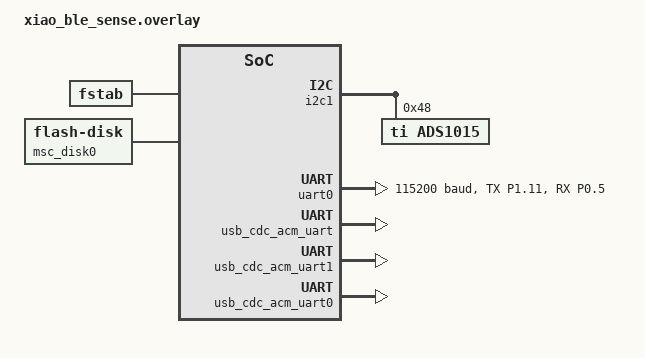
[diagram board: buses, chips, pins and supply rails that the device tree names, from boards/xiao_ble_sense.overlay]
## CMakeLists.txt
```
cmake_minimum_required(VERSION 3.20.0)

set(EI_API_KEY_HEADER "x-api-key: __REPLACE_ME__")

find_package(Zephyr REQUIRED HINTS $ENV{ZEPHYR_BASE})
project(posture_checker)

FILE(GLOB sh2_sources ext/sh2/*.c)

target_include_directories(app PRIVATE
    ext
)

# It is expected that the following 3 items are configured
target_sources_ifdef(CONFIG_FILE_SYSTEM
         app PRIVATE
         src/persistence/persistence.cpp
         )

target_sources_ifdef(CONFIG_ML_APP_EI_DATA_FORWARDER
         app PRIVATE
         src/ei_data_forwarder.c
         )

target_sources_ifdef(CONFIG_BT
		     app PRIVATE 
         src/bluetooth/services/postureCheckerService.c
         src/bluetooth/services/timeService.c
         src/bt.c
         )
         
target_sources(app PRIVATE
  ${sh2_sources}
  src/sensors/driver/bno08x.c
  src/sensors/sensorAggregator.cpp
  src/sensors/sensorBno08x.cpp
  src/sensors/sensorFlex.cpp
  src/sensors/sensorLsm6dsl.cpp
  src/usb/usb.c
  src/nfc/nfc.c
  src/uart/uart.c
  src/shell_commands.cpp
  src/main.cpp
  )


zephyr_include_directories(config)

# Compiler warnings to error
# zephyr_library_compile_options(-Werror)
```

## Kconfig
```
mainmenu "Posture checker application"

menu "Application configuration"

rsource "Kconfig.ei"
rsource "Kconfig.bt"
rsource "Kconfig.flash"

config USE_SIMULATION_DATA
	bool "Use simulation data instead of sensor input."

module = MAIN
module-str = Posture checker app main
source "subsys/logging/Kconfig.template.log_config"

module = SENSORS
module-str = Sensors module
source "subsys/logging/Kconfig.template.log_config"

endmenu

source "Kconfig.zephyr"
```

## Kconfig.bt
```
config APP_REQUIRE_OOB
	bool "Sending values requires OOB security level"

config APP_USER_FILTER_ACCESS_LIST
	bool "After bonding, only accept connections from bonded device or activation by shell"
```

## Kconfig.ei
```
#
# Copyright (c) 2021 Nordic Semiconductor
#
# SPDX-License-Identifier: LicenseRef-Nordic-5-Clause
#

menuconfig ML_APP_EI_DATA_FORWARDER
	bool "Edge Impulse data forwarder"
	depends on NEWLIB_LIBC
	depends on NEWLIB_LIBC_FLOAT_PRINTF

if ML_APP_EI_DATA_FORWARDER

config ML_APP_EI_DATA_FORWARDER_UART
	bool "UART"

config ML_APP_EI_DATA_FORWARDER_BT_NUS
	bool "Nordic UART Service (NUS)"
	depends on BT_NUS
	depends on BT_GAP_AUTO_UPDATE_CONN_PARAMS

config ML_APP_EI_DATA_FORWARDER_BUF_SIZE
	int "Data buffer size"
	default 82
	range 6 4096
	help
	  Size of the buffer used to temporarily store forwarded data.
	  The buffer must be big enough to store a single line of forwarded data.

config ML_APP_EI_DATA_FORWARDER_PIPELINE_COUNT
	int "Number of samples pipelined in the Bluetooth stack"
	depends on ML_APP_EI_DATA_FORWARDER_BT_NUS
	default 2
	range 1 BT_CONN_TX_MAX
	help
	  Number of sensor samples pipelined in the Bluetooth stack. Pipelining samples in the
	  Bluetooth stack reduces latency related to delivering subsequent sensor samples to
	  the stack.

config ML_APP_EI_DATA_FORWARDER_BUF_COUNT
	int "Data buffer count"
	depends on ML_APP_EI_DATA_FORWARDER_BT_NUS
	default 3
	range 0 16
	help
	  Up to CONFIG_ML_APP_EI_DATA_FORWARDER_PIPELINE_COUNT sensor samples are pipelined in the
	  Bluetooth stack. In case the pipeline is full, additional samples are buffered by the
	  application module. This Kconfig option specifies number of sensor samples temporarily
	  stored by the application module.

module = ML_APP_EI_DATA_FORWARDER
module-str = EI data forwarder
source "subsys/logging/Kconfig.template.log_config"

endif # ML_APP_EI_DATA_FORWARDER
```

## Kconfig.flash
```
config APP_WIPE_STORAGE
	bool "Option to clear the flash area before mounting"
	help
	  Use this to force an existing file system to be created.

module = APP_FLASH_LITTLEFS
module-str = Flash Filesystem Utilities
source "subsys/logging/Kconfig.template.log_config"
```

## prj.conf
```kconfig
#################
# Debugging
#################
CONFIG_DEBUG=y
CONFIG_DEBUG_INFO=y
CONFIG_EXCEPTION_STACK_TRACE=y
CONFIG_THREAD_NAME=y
CONFIG_MPU_STACK_GUARD=y
CONFIG_RESET_ON_FATAL_ERROR=n


#################
# Memory settings
#################
CONFIG_MAIN_STACK_SIZE=4096
CONFIG_ISR_STACK_SIZE=4096
CONFIG_SYSTEM_WORKQUEUE_STACK_SIZE=4096


####################################
# Bluetooth Low Energy configuration
####################################
# General features
CONFIG_BT=y
CONFIG_BT_PERIPHERAL=y
CONFIG_BT_GATT_CLIENT=y
CONFIG_BT_DEVICE_NAME="Posture"

# Security
CONFIG_BT_SMP=y
CONFIG_BT_SMP_SC_ONLY=y
CONFIG_BT_MAX_CONN=2
CONFIG_BT_MAX_PAIRED=2
CONFIG_BT_FILTER_ACCEPT_LIST=y

# Required to skip InitRandomStaticAddress() in modules/lib/matter/src/platform/Zephyr/BLEManagerImpl.cpp
# and settings_load() after PlatformMgr().InitChipStack()
CONFIG_BT_PRIVACY=y
CONFIG_BT_SMP_APP_PAIRING_ACCEPT=y

## Enable bonding
CONFIG_BT_SETTINGS=y
CONFIG_FLASH=y
CONFIG_FLASH_PAGE_LAYOUT=y
CONFIG_FLASH_MAP=y
CONFIG_NVS=y
CONFIG_SETTINGS=y

## Increase packet size
CONFIG_BT_DATA_LEN_UPDATE=y
CONFIG_BT_USER_DATA_LEN_UPDATE=y
CONFIG_BT_CTLR_DATA_LENGTH_MAX=251
CONFIG_BT_BUF_ACL_RX_SIZE=251
CONFIG_BT_BUF_ACL_TX_SIZE=251
CONFIG_BT_L2CAP_TX_MTU=247

CONFIG_BT_PHY_UPDATE=y
CONFIG_BT_USER_PHY_UPDATE=y
CONFIG_BT_AUTO_PHY_UPDATE=y

## 500ms connection interval, peripheral latency 0 connection intervals, supervision timeout 4s
#CONFIG_BT_PERIPHERAL_PREF_MIN_INT=400
#CONFIG_BT_PERIPHERAL_PREF_MAX_INT=400
#CONFIG_BT_PERIPHERAL_PREF_LATENCY=0
#CONFIG_BT_PERIPHERAL_PREF_TIMEOUT=400
CONFIG_BT_GAP_AUTO_UPDATE_CONN_PARAMS=y


###################
# USB configuration
###################
CONFIG_USB_DEVICE_STACK=y
CONFIG_USB_DEVICE_PRODUCT="Posture Checker"
CONFIG_USB_CDC_ACM=y
CONFIG_UART_LINE_CTRL=y

# The build should not complain about using the default device ids
CONFIG_USB_DEVICE_VID=0x1234
CONFIG_USB_DEVICE_PID=0x5678

CONFIG_USB_DEVICE_MANUFACTURER="J"
CONFIG_USB_DEVICE_SN="MLB_000000000000"

CONFIG_USB_DEVICE_INITIALIZE_AT_BOOT=y

CONFIG_USB_COMPOSITE_DEVICE=n
CONFIG_USB_MAX_NUM_TRANSFERS=8

CONFIG_USB_REQUEST_BUFFER_SIZE=2048

CONFIG_USB_MASS_STORAGE=y
CONFIG_USB_DRIVER_LOG_LEVEL_ERR=y
CONFIG_USB_DEVICE_LOG_LEVEL_ERR=y
CONFIG_USB_MASS_STORAGE_LOG_LEVEL_ERR=y

CONFIG_DISK_DRIVER_FLASH=y
# defaults if CONFIG_DISK_DRIVER_FLASH=y
CONFIG_MASS_STORAGE_DISK_NAME="NAND"
CONFIG_FLASHDISK_VERIFY_PAGE_LAYOUT=y


###################
# NFC configuration
###################
CONFIG_NFC_T4T_NRFXLIB=y

CONFIG_NFC_NDEF=y
CONFIG_NFC_NDEF_MSG=y
CONFIG_NFC_NDEF_RECORD=y
CONFIG_NFC_NDEF_LE_OOB_REC=y
CONFIG_NFC_NDEF_CH_MSG=y

CONFIG_NFC_NDEF_TNEP_RECORD=y
CONFIG_NFC_TNEP_TAG=y
CONFIG_NFC_NDEF_PARSER=y
CONFIG_NFC_NDEF_CH_PARSER=y
CONFIG_NFC_NDEF_LE_OOB_REC_PARSER=y
CONFIG_NFC_TNEP_CH=y

CONFIG_NFC_TNEP_CH_LOG_LEVEL_DBG=y
CONFIG_NFC_NDEF_CH_REC_PARSER_LOG_LEVEL_DBG=y
CONFIG_NFC_NDEF_LE_OOB_REC_PARSER_LOG_LEVEL_DBG=y
CONFIG_NFC_NDEF_PARSER_LOG_LEVEL_DBG=y
CONFIG_NFC_PLATFORM_LOG_LEVEL_DBG=y
CONFIG_NFC_TNEP_TAG_LOG_LEVEL_DBG=y


#######
# Shell
#######
CONFIG_SHELL=y
CONFIG_SHELL_PROMPT_UART="$ "
CONFIG_SHELL_BACKEND_SERIAL_CHECK_DTR=y
CONFIG_SHELL_VT100_COMMANDS=n
CONFIG_SHELL_DEFAULT_TERMINAL_WIDTH=100
CONFIG_SHELL_STACK_SIZE=3168
CONFIG_ADC_SHELL=n
CONFIG_SHELL_CMD_BUFF_SIZE=128
CONFIG_SHELL_BACKEND_SERIAL_RX_RING_BUFFER_SIZE=128


##########
# logging
##########
CONFIG_LOG=y
CONFIG_LOG_MODE_MINIMAL=n
CONFIG_LOG_MODE_DEFERRED=y
#CONFIG_LOG_MODE_IMMEDIATE=n
CONFIG_LOG_BUFFER_SIZE=12288
CONFIG_LOG_BACKEND_SHOW_COLOR=n

# Random crashes with the default of 768
CONFIG_LOG_PROCESS_THREAD_STACK_SIZE=2048

CONFIG_LOG_BACKEND_UART=y
CONFIG_SHELL_LOG_BACKEND=n

CONFIG_CBPRINTF_FP_SUPPORT=y

CONFIG_I2C_DUMP_MESSAGES=n
CONFIG_I2C_LOG_LEVEL_DBG=y
CONFIG_MAIN_LOG_LEVEL_DBG=y
CONFIG_ML_APP_EI_DATA_FORWARDER_LOG_LEVEL_INF=y
CONFIG_EI_WRAPPER_LOG_LEVEL_WRN=y
CONFIG_SENSOR_LOG_LEVEL_DBG=y
CONFIG_SENSORS_LOG_LEVEL_INF=y
CONFIG_USB_CDC_ACM_LOG_LEVEL_OFF=y
CONFIG_DATE_TIME_LOG_LEVEL_ERR=y


##############
# Edge Impulse
##############
CONFIG_EDGE_IMPULSE=y
CONFIG_EI_WRAPPER_DATA_BUF_SIZE=2500
CONFIG_EI_WRAPPER_THREAD_STACK_SIZE=4096
CONFIG_EI_WRAPPER_THREAD_PRIORITY=5
CONFIG_EI_WRAPPER_PROFILING=y
CONFIG_EI_WRAPPER_DEBUG_MODE=n

CONFIG_EDGE_IMPULSE_DOWNLOAD_ALWAYS=y
# Requires credentials set as EI_API_KEY_HEADER in cmake before this configuration is read
#CONFIG_EDGE_IMPULSE_URI="https://studio.edgeimpulse.com/v1/api/276797/deployment/download?type=zip&engine=tflite-eon"
CONFIG_EDGE_IMPULSE_URI="model/posture-checker-v5.zip"

CONFIG_ML_APP_EI_DATA_FORWARDER=y
CONFIG_ML_APP_EI_DATA_FORWARDER_BT_NUS=y
CONFIG_ML_APP_EI_DATA_FORWARDER_UART=y
CONFIG_ML_APP_EI_DATA_FORWARDER_PIPELINE_COUNT=3
CONFIG_ML_APP_EI_DATA_FORWARDER_BUF_COUNT=6

CONFIG_CPLUSPLUS=y
CONFIG_LIB_CPLUSPLUS=y
CONFIG_STD_CPP11=y
CONFIG_FP16=n

CONFIG_NEWLIB_LIBC=y
CONFIG_NEWLIB_LIBC_FLOAT_PRINTF=y

CONFIG_BT_NUS=y


##########
# Memfault
##########
# General
CONFIG_MEMFAULT=y
CONFIG_MEMFAULT_SHELL=y
CONFIG_MEMFAULT_USER_CONFIG_ENABLE=y

# Memfault over BLE
CONFIG_BT_MDS=y

# Heap memory is required for the memfault_demo_cli.c
CONFIG_HEAP_MEM_POOL_SIZE=256

# Device info
CONFIG_MEMFAULT_NCS_DEVICE_ID="postureChecker"
CONFIG_MEMFAULT_NCS_FW_VERSION_AUTO=y
#CONFIG_MEMFAULT_NCS_HW_VERSION="0.1.0+"
#CONFIG_MEMFAULT_NCS_FW_TYPE="posture"
#CONFIG_MEMFAULT_NCS_FW_VERSION_PREFIX="0.1.0+"
#CONFIG_MEMFAULT_DEVICE_ID="52840"

# Collected metris
CONFIG_MEMFAULT_METRICS=y
CONFIG_MEMFAULT_METRICS_DEFAULT_SET_ENABLE=y
CONFIG_MEMFAULT_METRICS_EXTRA_DEFS_FILE=y
CONFIG_MEMFAULT_NCS_STACK_METRICS=y
CONFIG_MEMFAULT_NCS_BT_METRICS=y

# Include logging
CONFIG_MEMFAULT_LOGGING_ENABLE=y
CONFIG_MEMFAULT_LOGGING_RAM_SIZE=1024

# Store coredump to flash
CONFIG_MEMFAULT_COREDUMP_COLLECT_BSS_REGIONS=y
CONFIG_MEMFAULT_COREDUMP_COLLECT_DATA_REGIONS=y
CONFIG_MEMFAULT_NCS_INTERNAL_FLASH_BACKED_COREDUMP=n

# Dependencies MEMFAULT_NCS_INTERNAL_FLASH_BACKED_COREDUMP
#CONFIG_FLASH=y
#CONFIG_IMG_MANAGER=y
#CONFIG_BOOTLOADER_MCUBOOT=y
#CONFIG_MCUBOOT_IMG_MANAGER=y

# Other dependencies
CONFIG_BASE64=y


############
# Filesystem
############
# Need this when storage is on flash
CONFIG_MPU_ALLOW_FLASH_WRITE=y

# Need this when storage is on MX25R64
CONFIG_NORDIC_QSPI_NOR=y
CONFIG_NORDIC_QSPI_NOR_FLASH_LAYOUT_PAGE_SIZE=4096

CONFIG_FILE_SYSTEM=y
CONFIG_FILE_SYSTEM_LITTLEFS=y


############
# App
############
CONFIG_APP_WIPE_STORAGE=n
CONFIG_APP_USER_FILTER_ACCESS_LIST=n
CONFIG_APP_REQUIRE_OOB=y

CONFIG_I2C=y
CONFIG_SENSOR=y
CONFIG_ADC=y
CONFIG_ADC_ADS1X1X=y

CONFIG_DATE_TIME=y
# need to manually switch this off as no network is enabled and KConfig does not pass
CONFIG_DATE_TIME_NTP=n

CONFIG_USE_SIMULATION_DATA=y
```

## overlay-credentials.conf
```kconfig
CONFIG_MEMFAULT_NCS_PROJECT_KEY="__REPLACE_ME__"
```

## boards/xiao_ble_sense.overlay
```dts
#include <zephyr/dt-bindings/gpio/nordic-nrf-gpio.h>

/ {
	chosen {
		zephyr,console = &usb_cdc_acm_uart;
		zephyr,shell-uart = &usb_cdc_acm_uart;
		ncs,ml-app-ei-data-forwarder-uart = &usb_cdc_acm_uart0;
	};

	// https: //github.com/zephyrproject-rtos/zephyr/pull/56640
	// https: //github.com/zephyrproject-rtos/zephyr/pull/57875
	lsm6ds3tr-c-en {
		enable-gpios = <&gpio1 8 (NRF_GPIO_DRIVE_S0H1 | GPIO_ACTIVE_HIGH)>;
		startup-delay-us = <3000>;
	};

	aliases {
		xiao-i2c = &i2c1;
	};

	// Configure the littlefs partition
	fstab {
		compatible = "zephyr,fstab";
		lfs1: lfs1 {
			compatible = "zephyr,fstab,littlefs";
			mount-point = "/lfs1";
			partition = <&lfs1_part>;
			read-size = <16>;
			prog-size = <16>;
			cache-size = <64>;
			lookahead-size = <32>;
			block-cycles = <512>;
		};
	};

	// Expose the littlefs partition as a USB Mass Storage Device
	msc_disk0 {
		compatible = "zephyr,flash-disk";
		partition = <&lfs1_part>;
		disk-name = "NAND";
		cache-size = <4096>;
	};
};

&p25q16h {
	partitions {
		compatible = "fixed-partitions";
		#address-cells = <1>;
		#size-cells = <1>;

		// Place the littlefs partition onto the external flash
		lfs1_part: partition@0 {
			label = "flash-storage";
			reg = <0x00000000 0x00200000>;
		};
	};
};

&i2c1_default {
	group1 {
		psels = <NRF_PSEL(TWIM_SDA, 1, 15)>, <NRF_PSEL(TWIM_SCL, 1, 14)>;
	};
};

&i2c1_sleep {
	group1 {
		psels = <NRF_PSEL(TWIM_SDA, 1, 15)>, <NRF_PSEL(TWIM_SCL, 1, 14)>;
		low-power-enable;
	};
};

&i2c1 {
	compatible = "nordic,nrf-twi";
	status = "okay";

	pinctrl-0 = <&i2c1_default>;
	pinctrl-1 = <&i2c1_sleep>;
	pinctrl-names = "default", "sleep";

	ads1015: ads1015@48 {
		compatible = "ti,ads1015";
		reg = <0x48>;
		#io-channel-cells = <1>;
	};
};

&pinctrl {
	uart0_default: uart0_default {
		group1 {
			psels = <NRF_PSEL(UART_TX, 1, 11)>; // D6
		};
		group2 {
			psels = <NRF_PSEL(UART_RX, 0, 5)>; // D5
			bias-pull-up;
		};		
	};

	uart0_sleep: uart0_sleep {
		group1 {
			psels = <NRF_PSEL(UART_TX, 1, 11)>, // D6
					<NRF_PSEL(UART_RX, 0, 5)>; // D5
			low-power-enable;
		};
	};
};

&uart0 {
	current-speed = <115200>;
	status = "okay";
	pinctrl-0 = <&uart0_default>;
	pinctrl-1 = <&uart0_sleep>;
	pinctrl-names = "default", "sleep";
};

zephyr_udc: &usbd {
	usb_cdc_acm_uart: cdc-acm-uart {
		compatible = "zephyr,cdc-acm-uart";
	};

	usb_cdc_acm_uart1: cdc-acm-uart1 {
		compatible = "zephyr,cdc-acm-uart";
	};

	usb_cdc_acm_uart0: cdc-acm-uart0 {
		compatible = "zephyr,cdc-acm-uart";
	};
};

&adc {
	status = "disabled";
};

&spi2 {
	status = "disabled";
};
```

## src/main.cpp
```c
#include <date_time.h>
#include <ei_wrapper.h>
#include <zephyr/kernel.h>
#include <zephyr/logging/log.h>

#include "bt.h"
#include "ei_data_forwarder.h"
#include "persistence/persistence.h"
#include "sensors/sensorAggregator.h"
#include "sensors/sensorBno08x.h"
#include "sensors/sensorFlex.h"
#include "sensors/sensorLsm6dsl.h"
#include "usb/usb.h"

#if defined(CONFIG_USE_SIMULATION_DATA)
#include "simulation_data.cpp"
#endif

LOG_MODULE_REGISTER(app, CONFIG_MAIN_LOG_LEVEL);

static void app_config_cb(const struct pcs_config *data) {
  LOG_INF("Received config dummy1: %d, dummy2: %d, dummy3: %d", data->dummy1, data->dummy2,
          data->dummy3);
}

static void set_time_cb(time_t val) {
  struct tm *tm_localtime;
  tm_localtime = localtime(&val);

#if defined(CONFIG_DATE_TIME)
  date_time_set(tm_localtime);
  LOG_DBG("Set time to %d %s (%lli)", tm_localtime->tm_year + 1900, asctime(tm_localtime), val);
#else
  LOG_ERR("Cannot set time to %d %s (%lli)", tm_localtime->tm_year + 1900, asctime(tm_localtime),
          val);
#endif
}

static struct bt_app_cb app_callbacks = {
    .config_cb = app_config_cb,
    .time_cb = set_time_cb,
};

int posture_score = 0;
uint8_t posture_step = 5;

static void result_ready_cb(int err) {
  if (err) {
    LOG_ERR("Result ready callback returned error (err: %d)", err);
    return;
  }

  ei_wrapper_start_prediction(0, 1);

  const char *label;
  float value;
  float anomaly;

  err = ei_wrapper_get_next_classification_result(&label, &value, NULL);
  LOG_INF("Value: %.2f\tLabel: %s", value, label);

  if (strcmp(label, "bad") == 0) {
    posture_score += posture_step;
    if (posture_score > 254) posture_score = 254;
  } else if (strcmp(label, "good") == 0) {
    posture_score -= posture_step;
    if (posture_score < 0) posture_score = 0;
  }

  if (ei_wrapper_classifier_has_anomaly()) {
    err = ei_wrapper_get_anomaly(&anomaly);
    if (err) {
      LOG_ERR("Cannot get anomaly (err: %d)", err);
    } else {
      LOG_WRN("Anomaly: %.2f", anomaly);
    }
  }

  LOG_INF("Updated posture score %d", posture_score);
  bt_send_posture_score((uint16_t)posture_score);
}

int main() {
  initUSB();

  Persistence::Instance().init(IS_ENABLED(CONFIG_APP_WIPE_STORAGE));

#if !defined(CONFIG_USE_SIMULATION_DATA)
  SensorLsm6dsl lsm = SensorLsm6dsl();
  SensorBno08x bno = SensorBno08x();
  SensorFlex flex = SensorFlex();
  SensorAggregator agg = SensorAggregator(&bno, &flex, &lsm);
#endif

  bt_init(&app_callbacks);

  ei_data_forwarder_init();
  ei_wrapper_init(result_ready_cb);

  //---------
  // Print some information about the model
  LOG_INF("ei frame size: %d", ei_wrapper_get_frame_size());
  LOG_INF("ei window size: %d", ei_wrapper_get_window_size());
  LOG_INF("ei classifier frequency: %d", ei_wrapper_get_classifier_frequency());
  LOG_INF("ei classifier label count: %d", ei_wrapper_get_classifier_label_count());

  for (size_t i = 0; i < ei_wrapper_get_classifier_label_count(); i++) {
    LOG_INF("- %s", ei_wrapper_get_classifier_label(i));
  }
  //---------

  ei_wrapper_start_prediction(0, 0);

  struct posture_data data;
  int64_t t = 0;
#if defined(CONFIG_USE_SIMULATION_DATA)
  unsigned int i = 0;
#endif

  while (true) {
    k_sleep(K_MSEC(500));

#if defined(CONFIG_USE_SIMULATION_DATA)
    LOG_INF("Send simulation data");
    if (i < ARRAY_SIZE(simulation_data)) {
      ei_wrapper_add_data((float *)&simulation_data[i++],
                          sizeof(struct posture_data_float) / sizeof(float));
    } else {
      i = 0;
    }
#else
    int rc = date_time_now(&t);
    if (rc) {
      data.time = (uint32_t)(k_uptime_get() / 1000);
    } else {
      data.time = (uint32_t)(t / 1000);
    }
    agg.collectData(&data);

    ei_data_forwarder_handle_sensor_event(data);
    Persistence::Instance().writeFile("sensorData.txt", &data, sizeof(data), 0, true);

    bt_send_posture_data(data);

    struct posture_data_float float_data = {
        (float)data.flex2, (float)data.flex3, data.roll,   data.pitch,  data.yaw,    data.accel_x,
        data.accel_y,      data.accel_z,      data.magn_x, data.magn_y, data.magn_z,
    };
    ei_wrapper_add_data((float *)&float_data, sizeof(struct posture_data_float) / sizeof(float));
#endif
  }
  return 0;
}
```

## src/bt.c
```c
// based on
// https://github.com/NordicDeveloperAcademy/bt-fund/blob/main/lesson5/blefund_less5_exer2_solution/src/main.c

#include "bt.h"

#include <bluetooth/services/mds.h>
#include <bluetooth/services/nus.h>
#include <stdio.h>
#include <zephyr/bluetooth/conn.h>
#include <zephyr/bluetooth/gatt.h>
#include <zephyr/bluetooth/uuid.h>
#include <zephyr/kernel.h>
#include <zephyr/logging/log.h>
#include <zephyr/settings/settings.h>

#include "bluetooth/services/postureCheckerService.h"
#include "bluetooth/services/timeService.h"
#include "sensors/sensorDataDefinition.h"
#include "nfc/nfc.h"
LOG_MODULE_REGISTER(bt, CONFIG_MAIN_LOG_LEVEL);

static struct bt_conn *conns[CONFIG_BT_MAX_CONN];

#define DEVICE_NAME CONFIG_BT_DEVICE_NAME
#define DEVICE_NAME_LEN (sizeof(DEVICE_NAME) - 1)

struct bt_le_oob oob_local;
struct bt_le_oob oob_remote;

static const char *oob_config_str(int oob_config) {
  switch (oob_config) {
    case BT_CONN_OOB_LOCAL_ONLY:
      return "Local";
    case BT_CONN_OOB_REMOTE_ONLY:
      return "Remote";
    case BT_CONN_OOB_BOTH_PEERS:
      return "Local and Remote";
    case BT_CONN_OOB_NO_DATA:
    default:
      return "none";
  }
}

static void print_le_oob(struct bt_le_oob *oob, char *buffer, uint16_t size) {
  char addr[BT_ADDR_LE_STR_LEN];
  char c[KEY_STR_LEN];
  char r[KEY_STR_LEN];

  bt_addr_le_to_str(&oob->addr, addr, sizeof(addr));

  bin2hex(oob->le_sc_data.c, sizeof(oob->le_sc_data.c), c, sizeof(c));
  bin2hex(oob->le_sc_data.r, sizeof(oob->le_sc_data.r), r, sizeof(r));

  LOG_INF("OOB data:");
  LOG_INF("%-29s %-32s %-32s", "addr", "random", "confirm");
  LOG_INF("%29s %32s %32s", addr, r, c);
  if (buffer && size >= OOB_MESSAGE_LEN) {
    snprintf(buffer, OOB_MESSAGE_LEN, "%29s %32s %32s\n", addr, r, c);
  }
}

int set_remote_oob(const char *addr, const char *type, const char *r, const char *c) {
  bt_addr_le_t bt_addr;

  int err = bt_addr_le_from_str(addr, type, &bt_addr);
  if (err) {
    LOG_ERR("Invalid peer address (err %d)", err);
    return err;
  }

  bt_addr_le_copy(&oob_remote.addr, &bt_addr);
  hex2bin(r, strlen(r), oob_remote.le_sc_data.r, sizeof(oob_remote.le_sc_data.r));
  hex2bin(c, strlen(c), oob_remote.le_sc_data.c, sizeof(oob_remote.le_sc_data.c));
  bt_le_oob_set_sc_flag(true);

  print_le_oob(&oob_remote, NULL, 0);
  return 0;
}

void local_oob_get(char *buffer, uint16_t size) {
  int err = bt_le_oob_get_local(BT_ID_DEFAULT, &oob_local);
  if (err) {
    LOG_ERR("Retrieving OOB data failed (err %d)", err);
    return;
  }

  print_le_oob(&oob_local, buffer, size);
}

static void auth_pairing_oob_data_request(struct bt_conn *conn, struct bt_conn_oob_info *oob_info) {
  char addr[BT_ADDR_LE_STR_LEN];
  struct bt_conn_info info;
  int err;

  err = bt_conn_get_info(conn, &info);
  if (err) {
    return;
  }

  if (oob_info->type == BT_CONN_OOB_LE_SC) {
    struct bt_le_oob_sc_data *oobd_local =
        oob_info->lesc.oob_config != BT_CONN_OOB_REMOTE_ONLY ? &oob_local.le_sc_data : NULL;
    struct bt_le_oob_sc_data *oobd_remote =
        oob_info->lesc.oob_config != BT_CONN_OOB_LOCAL_ONLY ? &oob_remote.le_sc_data : NULL;

    if (oobd_remote && !bt_addr_le_eq(info.le.remote, &oob_remote.addr)) {
      bt_addr_le_to_str(info.le.remote, addr, sizeof(addr));
      LOG_INF("No OOB data available for remote %s", addr);
      bt_conn_auth_cancel(conn);
      return;
    }

    if (oobd_local && !bt_addr_le_eq(info.le.local, &oob_local.addr)) {
      bt_addr_le_to_str(info.le.local, addr, sizeof(addr));
      LOG_INF("No OOB data available for local %s", addr);
      bt_conn_auth_cancel(conn);
      return;
    }

    bt_le_oob_set_sc_data(conn, oobd_local, oobd_remote);

    bt_addr_le_to_str(info.le.dst, addr, sizeof(addr));
    LOG_INF("Set %s OOB SC data for %s, ", oob_config_str(oob_info->lesc.oob_config), addr);
    return;
  }

  bt_addr_le_to_str(info.le.dst, addr, sizeof(addr));
  LOG_ERR("Legacy OOB not supported! TK requested from remote %s", addr);
}

#define BT_LE_ADV_CONN_NO_ACCEPT_LIST                                                            \
  BT_LE_ADV_PARAM(BT_LE_ADV_OPT_CONNECTABLE | BT_LE_ADV_OPT_USE_IDENTITY | BT_LE_ADV_OPT_ONE_TIME, BT_GAP_ADV_FAST_INT_MIN_2, \
                  BT_GAP_ADV_FAST_INT_MAX_2, NULL)

#define BT_LE_ADV_CONN_ACCEPT_LIST                                                                \
  BT_LE_ADV_PARAM(BT_LE_ADV_OPT_CONNECTABLE | BT_LE_ADV_OPT_USE_IDENTITY | BT_LE_ADV_OPT_FILTER_CONN | BT_LE_ADV_OPT_ONE_TIME, \
                  BT_GAP_ADV_FAST_INT_MIN_2, BT_GAP_ADV_FAST_INT_MAX_2, NULL)



// advertisment data
static const struct bt_data ad[] = {
    BT_DATA_BYTES(BT_DATA_FLAGS, (BT_LE_AD_GENERAL | BT_LE_AD_NO_BREDR)),
    BT_DATA_BYTES(BT_DATA_UUID128_ALL, BT_UUID_MDS_VAL),
    BT_DATA(BT_DATA_NAME_COMPLETE, DEVICE_NAME, DEVICE_NAME_LEN),
};

// scan response data
// Advertisment of two 128 bit UUIDs is too large for standard advertisments.
// Therefore only use the posture chekcer service value
static const struct bt_data sd[] = {
//    BT_DATA_BYTES(BT_DATA_UUID128_ALL, BT_UUID_NUS_VAL),
//    BT_DATA_BYTES(BT_DATA_UUID128_ALL, BT_UUID_EIS_VAL),
    BT_DATA_BYTES(BT_DATA_UUID128_ALL, BT_UUID_PCS_VAL),
};

static void setup_accept_list_cb(const struct bt_bond_info *info, void *user_data) {
  int *bond_cnt = user_data;

  if ((*bond_cnt) < 0) {
    return;
  }

  int err = bt_le_filter_accept_list_add(&info->addr);
  LOG_INF("Added following peer to accept list: %x %x", info->addr.a.val[0], info->addr.a.val[1]);
  if (err) {
    LOG_INF("Cannot add peer to filter accept list (err: %d)", err);
    (*bond_cnt) = -EIO;
  } else {
    (*bond_cnt)++;
  }
}

static int setup_accept_list(uint8_t local_id) {
  int err = bt_le_filter_accept_list_clear();

  if (err) {
    LOG_INF("Cannot clear accept list (err: %d)", err);
    return err;
  }

  int bond_cnt = 0;

  bt_foreach_bond(local_id, setup_accept_list_cb, &bond_cnt);

  return bond_cnt;
}

void advertise_with_acceptlist(struct k_work *work) {
  int err = 0;

  err = bt_le_adv_stop();
  if (err) {
    LOG_INF("Cannot stop advertising err= %d \n", err);
    return;
  }

  int allowed_cnt = setup_accept_list(BT_ID_DEFAULT);
  if (allowed_cnt < 0) {
    LOG_INF("Acceptlist setup failed (err:%d)", allowed_cnt);
  } else {
    if (allowed_cnt == 0) {
      LOG_INF("Advertising with no Accept list ");
      err = bt_le_adv_start(BT_LE_ADV_CONN_NO_ACCEPT_LIST, ad, ARRAY_SIZE(ad), sd, ARRAY_SIZE(sd));
    } else {
      LOG_INF("Acceptlist setup number  = %d ", allowed_cnt);
#if defined(CONFIG_APP_USER_FILTER_ACCESS_LIST)
      err = bt_le_adv_start(BT_LE_ADV_CONN_ACCEPT_LIST, ad, ARRAY_SIZE(ad), sd, ARRAY_SIZE(sd));
#else
      LOG_WRN("Ignore acceptlist.");
      err = bt_le_adv_start(BT_LE_ADV_CONN_NO_ACCEPT_LIST, ad, ARRAY_SIZE(ad), sd, ARRAY_SIZE(sd));
#endif
    }
    if (err) {
      LOG_INF("Advertising failed to start (err %d)", err);
      return;
    }
    LOG_INF("Advertising successfully started");

    local_oob_get(0, 0);
    nfc_init();    
  }
}

K_WORK_DEFINE(advertise_acceptlist_work, advertise_with_acceptlist);

/*
static void update_phy(struct bt_conn *conn) {
  int err;
  const struct bt_conn_le_phy_param preferred_phy = {
      .options = BT_CONN_LE_PHY_OPT_NONE,
      .pref_rx_phy = BT_GAP_LE_PHY_2M,
      .pref_tx_phy = BT_GAP_LE_PHY_2M,
  };
  err = bt_conn_le_phy_update(conn, &preferred_phy);
  if (err) {
    LOG_ERR("bt_conn_le_phy_update() returned %d", err);
  }
}
*/

static void update_data_length(struct bt_conn *conn) {
  int err;
  struct bt_conn_le_data_len_param my_data_len = {
      .tx_max_len = BT_GAP_DATA_LEN_MAX,
      .tx_max_time = BT_GAP_DATA_TIME_MAX,
  };
  err = bt_conn_le_data_len_update(conn, &my_data_len);
  if (err) {
    LOG_ERR("data_len_update failed (err %d)", err);
  }
}

static void exchange_func(struct bt_conn *conn, uint8_t att_err,
                          struct bt_gatt_exchange_params *params) {
  LOG_INF("MTU exchange %s", att_err == 0 ? "successful" : "failed");
  if (!att_err) {
    uint16_t payload_mtu = bt_gatt_get_mtu(conn) - 3;  // 3 bytes used for Attribute headers.
    LOG_INF("New MTU: %d bytes", payload_mtu);
  }
}

static void update_mtu(struct bt_conn *conn) {
  int err;

  static struct bt_gatt_exchange_params exchange_params;
  exchange_params.func = exchange_func;

  err = bt_gatt_exchange_mtu(conn, &exchange_params);
  if (err) {
    LOG_ERR("bt_gatt_exchange_mtu failed (err %d)", err);
  }
}

static void on_connected(struct bt_conn *conn, uint8_t err) {
  char addr[BT_ADDR_LE_STR_LEN];

  if (err) {
    LOG_INF("Connection failed (err %u)", err);
    return;
  }

  for (size_t i = 0; i < ARRAY_SIZE(conns); i++) {
    if (!conns[i]) {
      conns[i] = bt_conn_ref(conn);
      break;
    }
  }

  struct bt_conn_info info;
  err = bt_conn_get_info(conn, &info);
  if (err) {
    LOG_ERR("bt_conn_get_info() returned %d", err);
    return;
  }

  double connection_interval = info.le.interval * 1.25;  // in ms
  uint16_t supervision_timeout = info.le.timeout * 10;   // in ms
  LOG_INF("Connection parameters: interval %.2f ms, latency %d intervals, timeout %d ms",
          connection_interval, info.le.latency, supervision_timeout);

  // Fails to LE Set PHY (-5)
//  update_phy(conn);
  update_data_length(conn);
  update_mtu(conn);

  bt_addr_le_to_str(bt_conn_get_dst(conn), addr, sizeof(addr));

  LOG_INF("Connected to %s", addr);
}

static void on_disconnected(struct bt_conn *conn, uint8_t reason) {
  LOG_INF("Disconnected (reason %u)", reason);

  for (size_t i = 0; i < ARRAY_SIZE(conns); i++) {
    if (conns[i] == conn) {
      bt_conn_unref(conns[i]);
      conns[i] = NULL;
      break;
    }
  }

  k_work_submit(&advertise_acceptlist_work);
}

static void on_security_changed(struct bt_conn *conn, bt_security_t level,
                                enum bt_security_err err) {
  char addr[BT_ADDR_LE_STR_LEN];
  bt_addr_le_to_str(bt_conn_get_dst(conn), addr, sizeof(addr));

  struct bt_conn_info info;
  bt_conn_get_info(conn, &info);

  if (!err) {
    LOG_INF("Security changed: %s level %u", addr, level);
    LOG_INF("  ... Security level: %d, flag: %d", info.security.level, info.security.flags);
  } else {
    LOG_INF("Security failed: %s level %u err %d", addr, level, err);
  }
}

void on_le_param_updated(struct bt_conn *conn, uint16_t interval, uint16_t latency,
                         uint16_t timeout) {
  double connection_interval = interval * 1.25;  // in ms
  uint16_t supervision_timeout = timeout * 10;   // in ms
  LOG_INF("Connection parameters updated: interval %.2f ms, latency %d intervals, timeout %d ms",
          connection_interval, latency, supervision_timeout);
}

void on_le_phy_updated(struct bt_conn *conn, struct bt_conn_le_phy_info *param) {
  if (param->tx_phy == BT_CONN_LE_TX_POWER_PHY_1M) {
    LOG_INF("PHY updated. New PHY: 1M");
  } else if (param->tx_phy == BT_CONN_LE_TX_POWER_PHY_2M) {
    LOG_INF("PHY updated. New PHY: 2M");
  } else if (param->tx_phy == BT_CONN_LE_TX_POWER_PHY_CODED_S8) {
    LOG_INF("PHY updated. New PHY: Long Range");
  }
}

void on_le_data_len_updated(struct bt_conn *conn, struct bt_conn_le_data_len_info *info) {
  uint16_t tx_len = info->tx_max_len;
  uint16_t tx_time = info->tx_max_time;
  uint16_t rx_len = info->rx_max_len;
  uint16_t rx_time = info->rx_max_time;
  LOG_INF("Data length updated. Length %d/%d bytes, time %d/%d us", tx_len, rx_len, tx_time,
          rx_time);
}

static bool on_le_param_req(struct bt_conn *conn, struct bt_le_conn_param *param) {
  LOG_INF("Connection parameters update request received.");
  LOG_INF("Minimum interval: %d, Maximum interval: %d", param->interval_min, param->interval_max);
  LOG_INF("Latency: %d, Timeout: %d", param->latency, param->timeout);

  return true;
}

static void on_identity_resolved(struct bt_conn *conn, const bt_addr_le_t *rpa,
                                 const bt_addr_le_t *identity) {
  char addr_identity[BT_ADDR_LE_STR_LEN];
  char addr_rpa[BT_ADDR_LE_STR_LEN];

  bt_addr_le_to_str(identity, addr_identity, sizeof(addr_identity));
  bt_addr_le_to_str(rpa, addr_rpa, sizeof(addr_rpa));

  LOG_INF("BT Identity resolved %s -> %s.", addr_rpa, addr_identity);
}

struct bt_conn_cb connection_callbacks = {
    .connected = on_connected,
    .disconnected = on_disconnected,
    .security_changed = on_security_changed,
    .le_param_updated = on_le_param_updated,
    .le_phy_updated = on_le_phy_updated,
    .le_data_len_updated = on_le_data_len_updated,
    .le_param_req = on_le_param_req,
    .identity_resolved = on_identity_resolved,
};

static void pairing_complete(struct bt_conn *conn, bool bonded) {
  char addr[BT_ADDR_LE_STR_LEN];

  bt_addr_le_to_str(bt_conn_get_dst(conn), addr, sizeof(addr));

  printk("Pairing completed: %s, bonded: %d\n", addr, bonded);
}

static void pairing_failed(struct bt_conn *conn, enum bt_security_err reason) {
  char addr[BT_ADDR_LE_STR_LEN];

  bt_addr_le_to_str(bt_conn_get_dst(conn), addr, sizeof(addr));

  printk("Pairing failed conn: %s, reason %d\n", addr, reason);
}

static struct bt_conn_auth_info_cb conn_auth_info_callbacks = {.pairing_complete = pairing_complete,
                                                               .pairing_failed = pairing_failed};

static void auth_passkey_display(struct bt_conn *conn, unsigned int passkey) {
  char addr[BT_ADDR_LE_STR_LEN];

  bt_addr_le_to_str(bt_conn_get_dst(conn), addr, sizeof(addr));

  LOG_INF("Passkey for %s: %06u", addr, passkey);
}

static void auth_passkey_confirm(struct bt_conn *conn, unsigned int passkey) {
  char addr[BT_ADDR_LE_STR_LEN];
  char passkey_str[7];

  bt_addr_le_to_str(bt_conn_get_dst(conn), addr, sizeof(addr));

  snprintk(passkey_str, 7, "%06u", passkey);

  LOG_INF("Confirm passkey for %s: %s", addr, passkey_str);

  // automatic confirmation. Bad practice, better not define this function.
  // by defining this callback, we tell the bt stack that
  //   the device supports a display to show the number
  //   and an input device to confirm the number.
  //   But it doesn't have any capabilities.
  bt_conn_auth_passkey_confirm(conn);
}

static void auth_cancel(struct bt_conn *conn) {
  char addr[BT_ADDR_LE_STR_LEN];

  bt_addr_le_to_str(bt_conn_get_dst(conn), addr, sizeof(addr));

  LOG_INF("Pairing cancelled: %s", addr);
}

static void auth_pairing_confirm(struct bt_conn *conn) {
  char addr[BT_ADDR_LE_STR_LEN];

  bt_addr_le_to_str(bt_conn_get_dst(conn), addr, sizeof(addr));

  LOG_INF("Confirm pairing for %s", addr);

  bt_conn_auth_pairing_confirm(conn);
}

#if defined(CONFIG_BT_SMP_APP_PAIRING_ACCEPT)
static enum bt_security_err pairing_accept(struct bt_conn *conn,
                                           const struct bt_conn_pairing_feat *const feat) {
  LOG_INF(
      "Remote pairing features: "
      "IO: 0x%02x, OOB: %d, AUTH: 0x%02x, Key: %d, "
      "Init Kdist: 0x%02x, Resp Kdist: 0x%02x",
      feat->io_capability, feat->oob_data_flag, feat->auth_req, feat->max_enc_key_size,
      feat->init_key_dist, feat->resp_key_dist);

#if defined(CONFIG_APP_REQUIRE_OOB)
    if(feat->oob_data_flag == 0) {
      return BT_SECURITY_ERR_OOB_NOT_AVAILABLE;
    }
#endif

  return BT_SECURITY_ERR_SUCCESS;
}
#endif /* CONFIG_BT_SMP_APP_PAIRING_ACCEPT */

static struct bt_conn_auth_cb conn_auth_callbacks = {
    .passkey_display = auth_passkey_display,
    .passkey_confirm = auth_passkey_confirm,
    .oob_data_request = auth_pairing_oob_data_request,
    .cancel = auth_cancel,
    .pairing_confirm = auth_pairing_confirm,
#if defined(CONFIG_BT_SMP_APP_PAIRING_ACCEPT)
    .pairing_accept = pairing_accept,
#endif
};

#if defined(CONFIG_BT_MDS)
static bool mds_access_enable(struct bt_conn *conn) {
  struct bt_conn_info info;
  bt_conn_get_info(conn, &info);

#if defined(CONFIG_APP_REQUIRE_OOB)
  if ((info.security.flags & BT_SECURITY_FLAG_OOB) == 0) {
    return false;
  }
#endif

  return true;
}

static const struct bt_mds_cb mds_cb = {
    .access_enable = mds_access_enable,
};
#endif

void advertise_without_filter() {
  int err_code = bt_le_adv_stop();
  if (err_code) {
    LOG_INF("Cannot stop advertising err= %d \n", err_code);
    return;
  }
  err_code = bt_le_filter_accept_list_clear();
  if (err_code) {
    LOG_INF("Cannot clear accept list (err: %d)\n", err_code);
  } else {
    LOG_INF("Accept list cleared succesfully");
  }
  err_code = bt_le_adv_start(BT_LE_ADV_CONN_NO_ACCEPT_LIST, ad, ARRAY_SIZE(ad), sd, ARRAY_SIZE(sd));

  if (err_code) {
    LOG_INF("Cannot start open advertising (err: %d)\n", err_code);
  } else {
    LOG_INF("Advertising in pairing mode started");
  }
}

void remove_bonding() { bt_unpair(BT_ID_DEFAULT, BT_ADDR_LE_ANY); }

// for rand()
#include <stdlib.h>

void bt_send_posture_data(struct posture_data data) {
  for (size_t i = 0; i < ARRAY_SIZE(conns); i++) {
    if (conns[i]) {
      // Try all connections.
      // The check if subscribed and if security level is sufficient
      // is inside these functions.
      bt_pcs_send_data(conns[i], data);
    }
  }
}

void bt_send_posture_score(uint16_t score) {
  for (size_t i = 0; i < ARRAY_SIZE(conns); i++) {
    if (conns[i]) {
      // Try all connections.
      // The check if subscribed and if security level is sufficient
      // is inside these functions.
      bt_pcs_send_score(conns[i], score);
    }
  }
}

void bt_init(struct bt_app_cb *cb) {
  int err;

#if defined(CONFIG_BT_MDS)
  err = bt_mds_cb_register(&mds_cb);
  if (err) {
    printk("Memfault Diagnostic service callback registration failed (err %d)\n", err);
    return;
  }
#endif

  err = bt_conn_auth_cb_register(&conn_auth_callbacks);
  if (err) {
    LOG_ERR("Failed to register authorization callbacks.");
    return;
  }

  err = bt_conn_auth_info_cb_register(&conn_auth_info_callbacks);
  if (err) {
    LOG_ERR("Failed to register authorization info callbacks (err %d)", err);
    return;
  }

  bt_conn_cb_register(&connection_callbacks);

  err = bt_enable(NULL);
  if (err) {
    LOG_ERR("Bluetooth init failed (err %d)", err);
    return;
  }

  static struct bt_pcs_cb bt_callbacks;
  if (cb) {
    bt_callbacks.config_cb = cb->config_cb;
  }

  err = bt_pcs_init(&bt_callbacks);
  if (err) {
    LOG_ERR("Failed to init PCS (err:%d)", err);
    return;
  }

  static struct time_service_cb time_service_callbacs;
  if (cb) {
    time_service_callbacs.set_time_cb = cb->time_cb;
  }

  err = time_service_init(&time_service_callbacs);
  if (err) {
    LOG_ERR("Failed to initialize time service (err: %d)", err);
    return;
  }

  LOG_INF("Bluetooth initialized");

  if (IS_ENABLED(CONFIG_SETTINGS)) {
    err = settings_load();
    if (err) {
      LOG_ERR("Failed to load settings (err %d)", err);
      return;
    }
  }

  k_work_submit(&advertise_acceptlist_work);
}
```

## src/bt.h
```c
#pragma once

#ifdef __cplusplus
extern "C" {
#endif

#include <zephyr/bluetooth/addr.h>

#include "bluetooth/services/postureCheckerService.h"
#include "bluetooth/services/timeService.h"
#include "sensors/sensorDataDefinition.h"

struct bt_app_cb {
  config_cb_t config_cb;
  set_time_cb_t time_cb;
};

#define KEY_STR_LEN (33)
#define OOB_MESSAGE_LEN (BT_ADDR_LE_STR_LEN + KEY_STR_LEN + KEY_STR_LEN + 1)

void bt_init(struct bt_app_cb *cb);

void bt_send_posture_data(struct posture_data data);
void bt_send_posture_score(uint16_t score);
void advertise_without_filter();

void remove_bonding();
int set_remote_oob(const char *addr, const char *type, const char *r, const char *c);
void local_oob_get(char *buffer, uint16_t size);

#ifdef __cplusplus
}
#endif
```

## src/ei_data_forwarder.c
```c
/*
 * Copyright (c) 2021 Nordic Semiconductor ASA
 *
 * SPDX-License-Identifier: LicenseRef-Nordic-5-Clause
 */

#include "ei_data_forwarder.h"

#include <stdio.h>
#include <zephyr/bluetooth/conn.h>
#include <zephyr/kernel.h>
#include <zephyr/logging/log.h>
LOG_MODULE_REGISTER(ei_data_forwarder, CONFIG_ML_APP_EI_DATA_FORWARDER_LOG_LEVEL);

#if defined(CONFIG_ML_APP_EI_DATA_FORWARDER_UART)
#include <zephyr/drivers/uart.h>
#include <zephyr/usb/usb_device.h>

#define EI_DATA_FORWARDER_UART_NODE DT_CHOSEN(ncs_ml_app_ei_data_forwarder_uart)
#define EI_DATA_FORWARDER_UART_DEV DEVICE_DT_GET(EI_DATA_FORWARDER_UART_NODE)

#define UART_BUF_SIZE CONFIG_ML_APP_EI_DATA_FORWARDER_BUF_SIZE

static const struct device *dev;
#endif

#if defined(CONFIG_ML_APP_EI_DATA_FORWARDER_BT_NUS)
#include <bluetooth/services/nus.h>

#define DATA_BUF_SIZE CONFIG_ML_APP_EI_DATA_FORWARDER_BUF_SIZE
#define DATA_BUF_COUNT CONFIG_ML_APP_EI_DATA_FORWARDER_BUF_COUNT
#define PIPELINE_MAX_CNT CONFIG_ML_APP_EI_DATA_FORWARDER_PIPELINE_COUNT
#define BUF_SLAB_ALIGN 4

struct ei_data_packet {
  sys_snode_t node;
  size_t size;
  uint8_t buf[DATA_BUF_SIZE];
};

static struct bt_conn *nus_conn;

BUILD_ASSERT(sizeof(struct ei_data_packet) % BUF_SLAB_ALIGN == 0);
K_MEM_SLAB_DEFINE(buf_slab, sizeof(struct ei_data_packet), DATA_BUF_COUNT, BUF_SLAB_ALIGN);

static sys_slist_t send_queue;
static struct k_work send_queued;
static size_t pipeline_cnt;
static atomic_t sent_cnt;

static void clean_buffered_data(void) {
  sys_snode_t *node;

  while ((node = sys_slist_get(&send_queue))) {
    struct ei_data_packet *packet = CONTAINER_OF(node, __typeof__(*packet), node);

    k_mem_slab_free(&buf_slab, (void **)&packet);
  }
}

static int send_packet(struct bt_conn *conn, uint8_t *buf, size_t size) {
  int err = 0;
  uint32_t mtu = bt_nus_get_mtu(conn);

  if (mtu < size) {
    LOG_WRN("GATT MTU too small: %zu > %u", size, mtu);
    err = -ENOBUFS;
  } else {
    __ASSERT_NO_MSG(size <= UINT16_MAX);

    err = bt_nus_send(conn, buf, size);

    if (err) {
      LOG_WRN("bt_nus_tx error: %d", err);
    }
  }

  return err;
}

static void send_queued_fn(struct k_work *w) {
  atomic_dec(&sent_cnt);

  if (atomic_get(&sent_cnt)) {
    k_work_submit(&send_queued);
  }

  __ASSERT_NO_MSG(pipeline_cnt > 0);
  pipeline_cnt--;

  __ASSERT_NO_MSG(nus_conn);

  sys_snode_t *node = sys_slist_get(&send_queue);

  if (node) {
    struct ei_data_packet *packet = CONTAINER_OF(node, __typeof__(*packet), node);

    if (send_packet(nus_conn, packet->buf, packet->size)) {
      // nothing
    } else {
      pipeline_cnt++;
    }

    k_mem_slab_free(&buf_slab, (void **)&packet);
  }
}
#endif

int ei_data_forwarder_handle_sensor_event(const struct posture_data data) {
  static uint8_t buf[DATA_BUF_SIZE];

  uint16_t writtenBytes =
      snprintf(buf, DATA_BUF_SIZE, "%u,%d,%d,%d,%.2f,%.2f,%.2f,%.2f,%.2f,%.2f,%.2f,%.2f,%.2f\r\n",
               data.time, data.flex1, data.flex2, data.flex3, data.roll, data.pitch, data.yaw,
               data.accel_x, data.accel_y, data.accel_z, data.magn_x, data.magn_y, data.magn_z);
  // https://studio.edgeimpulse.com/studio/276797/acquisition/training
  LOG_DBG("%s",buf);
  

  if (!(writtenBytes >= 0 && writtenBytes < DATA_BUF_SIZE)) {
    LOG_ERR("EI data forwader buffer too small.");
    return -1;
  }

#if defined(CONFIG_ML_APP_EI_DATA_FORWARDER_UART)
  uint32_t cdc_val;
  int err = uart_line_ctrl_get(dev, UART_LINE_CTRL_DTR, &cdc_val);

  if (err) {
    LOG_WRN("uart_line_ctrl_get(DTR): %d", err);
  }

  if (cdc_val == 0) {
    LOG_DBG("CDC UART disconnected");
  } else {
    int tx_written = uart_fifo_fill(dev, buf, writtenBytes);
    if (tx_written != writtenBytes) {
      LOG_DBG("Sensor data -> CDC overflow");
    }
  }
#endif

#if defined(CONFIG_ML_APP_EI_DATA_FORWARDER_BT_NUS)
  if (nus_conn == NULL) {
    LOG_DBG("nus_conn is null");
  } else {
    if (pipeline_cnt < PIPELINE_MAX_CNT) {
      if (send_packet(nus_conn, buf, writtenBytes)) {
      } else {
        pipeline_cnt++;
      }
    } else {
      struct ei_data_packet *packet;

      if (k_mem_slab_alloc(&buf_slab, (void **)&packet, K_NO_WAIT)) {
        LOG_WRN("No space to buffer data");
        LOG_WRN("Sampling frequency is too high");
      } else {
        memcpy(packet->buf, buf, writtenBytes);
        packet->size = writtenBytes;
        sys_slist_append(&send_queue, &packet->node);
      }
    }
  }
#endif

  return 0;
}

#if defined(CONFIG_ML_APP_EI_DATA_FORWARDER_BT_NUS)
static void bt_nus_sent_cb(struct bt_conn *conn) {
  atomic_inc(&sent_cnt);
  k_work_submit(&send_queued);
}

static void send_enabled(struct bt_conn *conn, enum bt_nus_send_status status) {
  /* Make sure callback and Application Event Manager event handler will not be preempted. */
  BUILD_ASSERT(CONFIG_SYSTEM_WORKQUEUE_PRIORITY < 0);
  __ASSERT_NO_MSG(!k_is_in_isr());
  __ASSERT_NO_MSG(!k_is_preempt_thread());

  if (status == BT_NUS_SEND_STATUS_ENABLED) {
    nus_conn = conn;
  } else {
    nus_conn = NULL;
    clean_buffered_data();
    pipeline_cnt = 0;
    atomic_set(&sent_cnt, 0);
    k_work_cancel(&send_queued);
  }
  LOG_INF("Notifications %sabled", (status == BT_NUS_SEND_STATUS_ENABLED) ? "en" : "dis");
}

static int init_nus(void) {
  static struct bt_nus_cb nus_cb = {
      .sent = bt_nus_sent_cb,
      .send_enabled = send_enabled,
  };

  int err = bt_nus_init(&nus_cb);

  if (err) {
    LOG_ERR("Cannot initialize NUS (err %d)", err);
  }

  return err;
}
#endif

#if defined(CONFIG_ML_APP_EI_DATA_FORWARDER_UART)
static int init_uart(void) {
  dev = EI_DATA_FORWARDER_UART_DEV;

  if (!device_is_ready(dev)) {
    LOG_ERR("UART device binding failed");
    return -ENXIO;
  }

  return 0;
}
#endif

void ei_data_forwarder_init(void) {
#if defined(CONFIG_ML_APP_EI_DATA_FORWARDER_BT_NUS)
  k_work_init(&send_queued, send_queued_fn);
  sys_slist_init(&send_queue);

  init_nus();
#endif

#if defined(CONFIG_ML_APP_EI_DATA_FORWARDER_UART)
  init_uart();
#endif
}
```

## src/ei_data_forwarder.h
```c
#pragma once

#ifdef __cplusplus
extern "C" {
#endif

#include "sensors/sensorDataDefinition.h"

void ei_data_forwarder_init(void);
int ei_data_forwarder_handle_sensor_event(const struct posture_data data);

#ifdef __cplusplus
}
#endif
```

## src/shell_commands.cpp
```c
#ifdef CONFIG_SHELL

#include <shell/shell.h>
#include <stdio.h>

#include "bt.h"
#include "persistence/persistence.h"
#include "sensors/sensorDataDefinition.h"

#if defined(CONFIG_MEMFAULT)
#include <memfault/core/trace_event.h>
#include <memfault/metrics/metrics.h>
#endif

#include <zephyr/logging/log.h>
LOG_MODULE_REGISTER(shell, CONFIG_MAIN_LOG_LEVEL);

static int echo(const struct shell *shell, size_t argc, char **argv) {
  shell_print(shell, "argc = %d", argc);
  for (size_t cnt = 0; cnt < argc; cnt++) {
    shell_print(shell, "  argv[%d] = %s", cnt, argv[cnt]);
  }

  return 0;
}

#include <sys/reboot.h>
static int reboot(const struct shell *shell, size_t argc, char **argv) {
  sys_reboot(SYS_REBOOT_COLD);
  return 0;
}

static int pairing(const struct shell *shell, size_t argc, char **argv) {
  advertise_without_filter();
  return 0;
}

static int remove_bond(const struct shell *shell, size_t argc, char **argv) {
  remove_bonding();
  return 0;
}

#if defined(CONFIG_DATE_TIME)
#include <date_time.h>
#include <stdlib.h>

static int date_get(const struct shell *shell, size_t argc, char **argv) {
  int64_t t = 0;
  date_time_now(&t);
  t /= 1000;

  struct tm *tm_localtime;
  tm_localtime = localtime(&t);
  shell_print(shell, "%s unix time: %lli", asctime(tm_localtime), t);

  return 0;
}

static int date_set(const struct shell *shell, size_t argc, char **argv) {
  struct tm *tm_localtime;
  char *eptr;
  time_t t = strtoll(argv[1], &eptr, strlen(argv[1]));

  tm_localtime = localtime(&t);

  date_time_set(tm_localtime);
  shell_print(shell, "Set time to %s (%lli)", asctime(tm_localtime), t);
  return 0;
}
#endif

static int delete_file(const struct shell *shell, size_t argc, char **argv) {
  Persistence::Instance().init(false);
  Persistence::Instance().deleteFile(argv[1]);
  return 0;
}

#define DATA_BUF_SIZE CONFIG_ML_APP_EI_DATA_FORWARDER_BUF_SIZE

void fs_read_cb(void *data, uint16_t len_read, void *ctx) {
  static int idx = 0;
  struct posture_data *d = (struct posture_data *)data;
  static char buf[DATA_BUF_SIZE];

  snprintf(buf, DATA_BUF_SIZE, "%u,%d,%d,%d,%.2f,%.2f,%.2f,%.2f,%.2f,%.2f,%.2f,%.2f,%.2f", d->time,
           d->flex1, d->flex2, d->flex3, d->roll, d->pitch, d->yaw, d->accel_x, d->accel_y,
           d->accel_z, d->magn_x, d->magn_y, d->magn_z);

  LOG_INF("#%6d: %s", idx, buf);

  idx++;
}

static int dump_file(const struct shell *shell, size_t argc, char **argv) {
  static uint8_t buf[sizeof(struct posture_data)];
  Persistence::Instance().init(false);
  Persistence::Instance().readFile(argv[1], buf, sizeof(buf), fs_read_cb, NULL);
  return 0;
}

#if defined(CONFIG_MEMFAULT)
static int memfault_test(const struct shell *shell, size_t argc, char **argv) {
  memfault_metrics_heartbeat_timer_start(MEMFAULT_METRICS_KEY(testTimerMetric));
  memfault_metrics_heartbeat_add(MEMFAULT_METRICS_KEY(testMetric), 1);
  MEMFAULT_TRACE_EVENT_WITH_LOG(testTraceReason, "apply_config:");
  memfault_metrics_heartbeat_timer_stop(MEMFAULT_METRICS_KEY(testTimerMetric));
  memfault_metrics_heartbeat_debug_trigger();
  return 0;
}
#endif

static int cmd_oob_remote(const struct shell *sh, size_t argc, char *argv[]) {
  set_remote_oob(argv[1], argv[2], argv[3], argv[4]);
  return 0;
}

SHELL_STATIC_SUBCMD_SET_CREATE(
    sub_appCtrl, SHELL_CMD(echo, NULL, "Echo back the arguments", echo),
    SHELL_CMD(reboot, NULL, "System cold reboot", reboot),
    SHELL_CMD(pairing, NULL, "Start pairing mode", pairing),
    SHELL_CMD(remove_bond, NULL, "Start pairing mode", remove_bond),
    SHELL_CMD_ARG(delete_file, NULL, "Deletes the given file", delete_file, 2, 0),
    SHELL_CMD_ARG(dump_file, NULL, "Dumps the given file", dump_file, 2, 0),
#if defined(CONFIG_DATE_TIME)
    SHELL_CMD(date_get, NULL, "Get the date by asctime", date_get),
    SHELL_CMD_ARG(date_set, NULL, "Set the date by unix time format as argv", date_set, 2, 0),
#endif
#if defined(CONFIG_MEMFAULT)
    SHELL_CMD(memfault_test, NULL, "Calling some memfault stuff", memfault_test),
#endif
    SHELL_CMD_ARG(set_remote_oob, NULL, " <oob rand> <oob confirm>", cmd_oob_remote, 5, 0),

    SHELL_SUBCMD_SET_END /* Array terminated. */
);
SHELL_CMD_REGISTER(appCtrl, &sub_appCtrl, "Control posture checker", NULL);

#endif
```
